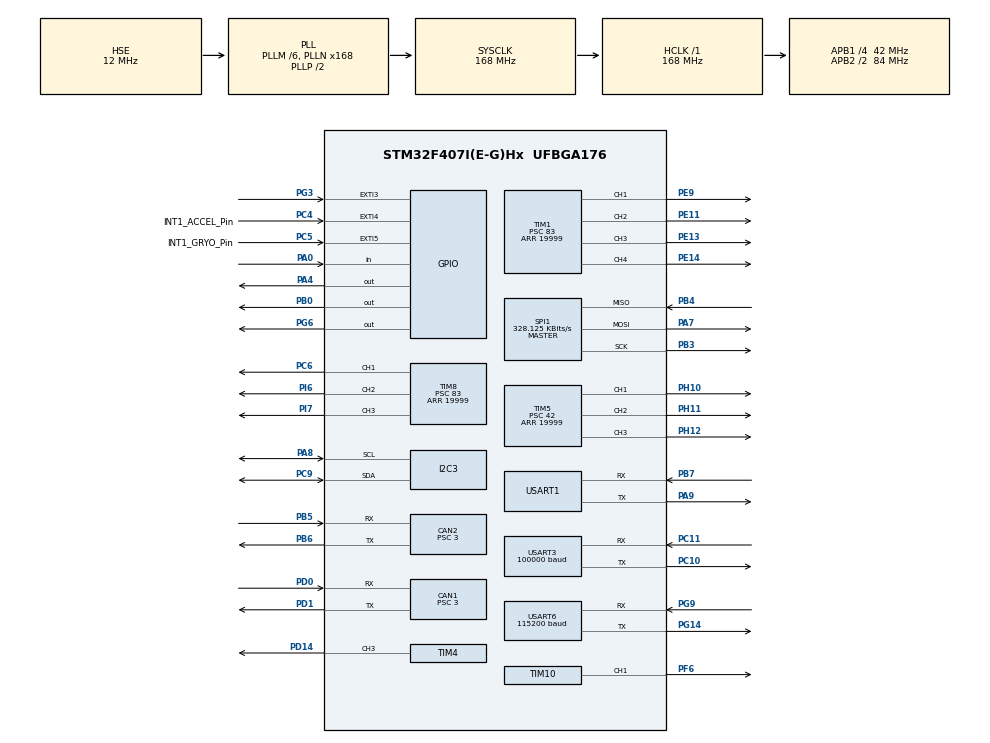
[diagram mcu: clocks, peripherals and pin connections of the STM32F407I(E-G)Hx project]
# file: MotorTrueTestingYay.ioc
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CAN1.BS1=CAN_BS1_10TQ
CAN1.BS2=CAN_BS2_3TQ
CAN1.CalculateBaudRate=1000000
CAN1.CalculateTimeBit=1000
CAN1.CalculateTimeQuantum=71.42857142857143
CAN1.Prescaler=3
CAN2.BS1=CAN_BS1_10TQ
CAN2.BS2=CAN_BS2_3TQ
CAN2.CalculateBaudRate=1000000
CAN2.CalculateTimeBit=1000
CAN2.CalculateTimeQuantum=71.42857142857143
CAN2.Prescaler=3
Dma.Request0=USART3_RX
Dma.Request1=USART1_RX
Dma.Request2=USART6_RX
Dma.USART1_RX.1.Direction=DMA_PERIPH_TO_MEMORY
Dma.USART1_RX.1.FIFOMode=DMA_FIFOMODE_DISABLE
Dma.USART1_RX.1.Instance=DMA2_Stream2
Dma.USART1_RX.1.MemDataAlignment=DMA_MDATAALIGN_BYTE
Dma.USART1_RX.1.MemInc=DMA_MINC_ENABLE
Dma.USART1_RX.1.Mode=DMA_NORMAL
Dma.USART1_RX.1.PeriphDataAlignment=DMA_PDATAALIGN_BYTE
Dma.USART1_RX.1.PeriphInc=DMA_PINC_DISABLE
Dma.USART1_RX.1.Priority=DMA_PRIORITY_VERY_HIGH
Dma.USART3_RX.0.Direction=DMA_PERIPH_TO_MEMORY
Dma.USART3_RX.0.FIFOMode=DMA_FIFOMODE_DISABLE
Dma.USART3_RX.0.Instance=DMA1_Stream1
Dma.USART3_RX.0.MemDataAlignment=DMA_MDATAALIGN_BYTE
Dma.USART3_RX.0.MemInc=DMA_MINC_ENABLE
Dma.USART3_RX.0.Mode=DMA_CIRCULAR
Dma.USART3_RX.0.PeriphDataAlignment=DMA_PDATAALIGN_BYTE
Dma.USART3_RX.0.PeriphInc=DMA_PINC_DISABLE
Dma.USART3_RX.0.Priority=DMA_PRIORITY_VERY_HIGH
Dma.USART6_RX.2.Direction=DMA_PERIPH_TO_MEMORY
Dma.USART6_RX.2.FIFOMode=DMA_FIFOMODE_DISABLE
Dma.USART6_RX.2.Instance=DMA2_Stream1
Dma.USART6_RX.2.MemDataAlignment=DMA_MDATAALIGN_BYTE
Dma.USART6_RX.2.MemInc=DMA_MINC_ENABLE
Dma.USART6_RX.2.Mode=DMA_NORMAL
Dma.USART6_RX.2.PeriphDataAlignment=DMA_PDATAALIGN_BYTE
Dma.USART6_RX.2.PeriphInc=DMA_PINC_DISABLE
Dma.USART6_RX.2.Priority=DMA_PRIORITY_VERY_HIGH
FREERTOS.INCLUDE_pcTaskGetTaskName=1
FREERTOS.INCLUDE_xTaskGetHandle=1
FREERTOS.Tasks01=FlowManager,48,128,StartFlowManager,Default,NULL,Dynamic,NULL,NULL;IMUtempPIDtask,24,512,imu_temp_control_task,As weak,NULL,Dynamic,NULL,NULL;ChassisTask,24,1024,StartChassisTask,Default,NULL,Dynamic,NULL,NULL
FREERTOS.configUSE_NEWLIB_REENTRANT=1
I2C3.I2C_Mode=I2C_Fast
Mcu.Family=STM32F4
Mcu.Name=STM32F407I(E-G)Hx
Mcu.Package=UFBGA176
NVIC.CAN1_RX0_IRQn=true\:5\:0\:false\:false\:true\:true\:true\:true\:true
NVIC.CAN2_RX0_IRQn=true\:5\:0\:false\:false\:true\:true\:true\:true\:true
NVIC.DMA1_Stream1_IRQn=true\:5\:0\:false\:false\:true\:true\:false\:true\:true
NVIC.DMA2_Stream1_IRQn=true\:5\:0\:false\:false\:true\:true\:false\:true\:true
NVIC.DMA2_Stream2_IRQn=true\:5\:0\:false\:false\:true\:true\:false\:true\:true
NVIC.EXTI3_IRQn=true\:5\:0\:false\:false\:true\:true\:true\:true\:true
NVIC.EXTI4_IRQn=true\:5\:0\:false\:false\:true\:true\:true\:true\:true
NVIC.PriorityGroup=NVIC_PRIORITYGROUP_4
NVIC.USART1_IRQn=true\:5\:0\:false\:false\:true\:true\:true\:true\:true
NVIC.USART6_IRQn=true\:5\:0\:false\:false\:true\:true\:true\:true\:true
PA0-WKUP.Signal=GPIO_Input
PA13.Mode=Serial_Wire
PA13.Signal=SYS_JTMS-SWDIO
PA14.Mode=Serial_Wire
PA14.Signal=SYS_JTCK-SWCLK
PA4.Signal=GPIO_Output
PA7.Mode=Full_Duplex_Master
PA7.Signal=SPI1_MOSI
PA8.Mode=I2C
PA8.Signal=I2C3_SCL
PA9.Mode=Asynchronous
PA9.Signal=USART1_TX
PB0.Signal=GPIO_Output
PB3.Mode=Full_Duplex_Master
PB3.Signal=SPI1_SCK
PB4.Mode=Full_Duplex_Master
PB4.Signal=SPI1_MISO
PB5.Mode=CAN_Activate
PB5.Signal=CAN2_RX
PB6.Mode=CAN_Activate
PB6.Signal=CAN2_TX
PB7.Mode=Asynchronous
PB7.Signal=USART1_RX
PC10.Mode=Asynchronous
PC10.Signal=USART3_TX
PC11.Mode=Asynchronous
PC11.Signal=USART3_RX
PC4.GPIO_Label=INT1_ACCEL_Pin
PC4.Signal=GPXTI4
PC5.GPIO_Label=INT1_GRYO_Pin
PC5.Signal=GPXTI5
PC6.Signal=S_TIM8_CH1
PC9.Mode=I2C
PC9.Signal=I2C3_SDA
PD0.Mode=CAN_Activate
PD0.Signal=CAN1_RX
PD1.Mode=CAN_Activate
PD1.Signal=CAN1_TX
PD14.Signal=S_TIM4_CH3
PE11.Signal=S_TIM1_CH2
PE13.Signal=S_TIM1_CH3
PE14.Signal=S_TIM1_CH4
PE9.Signal=S_TIM1_CH1
PF6.GPIO_PuPd=GPIO_PULLUP
PF6.GPIO_Speed=GPIO_SPEED_FREQ_HIGH
PF6.Signal=S_TIM10_CH1
PG14.Mode=Asynchronous
PG14.Signal=USART6_TX
PG3.Signal=GPXTI3
PG6.Signal=GPIO_Output
PG9.Mode=Asynchronous
PG9.Signal=USART6_RX
PH0-OSC_IN.Mode=HSE-External-Oscillator
PH0-OSC_IN.Signal=RCC_OSC_IN
PH1-OSC_OUT.Mode=HSE-External-Oscillator
PH1-OSC_OUT.Signal=RCC_OSC_OUT
PH10.Signal=S_TIM5_CH1
PH11.Signal=S_TIM5_CH2
PH12.Signal=S_TIM5_CH3
PI6.Signal=S_TIM8_CH2
PI7.Signal=S_TIM8_CH3
ProjectManager.HeapSize=0x200
ProjectManager.StackSize=0x400
ProjectManager.TargetToolchain=STM32CubeIDE
RCC.48MHZClocksFreq_Value=84000000
RCC.AHBFreq_Value=168000000
RCC.APB1CLKDivider=RCC_HCLK_DIV4
RCC.APB1Freq_Value=42000000
RCC.APB1TimFreq_Value=84000000
RCC.APB2CLKDivider=RCC_HCLK_DIV2
RCC.APB2Freq_Value=84000000
RCC.APB2TimFreq_Value=168000000
RCC.CortexFreq_Value=168000000
RCC.EnbaleCSS=true
RCC.HCLKFreq_Value=168000000
RCC.HSE_VALUE=12000000
RCC.HSI_VALUE=16000000
RCC.LSE_VALUE=32768
RCC.PLLM=6
RCC.PLLN=168
RCC.PLLSourceVirtual=RCC_PLLSOURCE_HSE
RCC.SYSCLKFreq_VALUE=168000000
RCC.SYSCLKSource=RCC_SYSCLKSOURCE_PLLCLK
RCC.VCOOutputFreq_Value=336000000
SH.S_TIM10_CH1.0=TIM10_CH1,PWM Generation1 CH1
SH.S_TIM1_CH1.0=TIM1_CH1,PWM Generation1 CH1
SH.S_TIM1_CH2.0=TIM1_CH2,PWM Generation2 CH2
SH.S_TIM1_CH3.0=TIM1_CH3,PWM Generation3 CH3
SH.S_TIM1_CH4.0=TIM1_CH4,PWM Generation4 CH4
SH.S_TIM4_CH3.0=TIM4_CH3,PWM Generation3 CH3
SH.S_TIM5_CH1.0=TIM5_CH1,PWM Generation1 CH1
SH.S_TIM5_CH2.0=TIM5_CH2,PWM Generation2 CH2
SH.S_TIM5_CH3.0=TIM5_CH3,PWM Generation3 CH3
SH.S_TIM8_CH1.0=TIM8_CH1,PWM Generation1 CH1
SH.S_TIM8_CH2.0=TIM8_CH2,PWM Generation2 CH2
SH.S_TIM8_CH3.0=TIM8_CH3,PWM Generation3 CH3
SPI1.BaudRatePrescaler=SPI_BAUDRATEPRESCALER_256
SPI1.CLKPhase=SPI_PHASE_2EDGE
SPI1.CLKPolarity=SPI_POLARITY_HIGH
SPI1.CalculateBaudRate=328.125 KBits/s
SPI1.Direction=SPI_DIRECTION_2LINES
SPI1.Mode=SPI_MODE_MASTER
SPI1.VirtualType=VM_MASTER
TIM1.AutoReloadPreload=TIM_AUTORELOAD_PRELOAD_DISABLE
TIM1.Channel-PWM\ Generation1\ CH1=TIM_CHANNEL_1
TIM1.Channel-PWM\ Generation2\ CH2=TIM_CHANNEL_2
TIM1.Channel-PWM\ Generation3\ CH3=TIM_CHANNEL_3
TIM1.Channel-PWM\ Generation4\ CH4=TIM_CHANNEL_4
TIM1.Period=19999
TIM1.Prescaler=83
TIM1.Pulse-PWM\ Generation1\ CH1=0
TIM10.Channel=TIM_CHANNEL_1
TIM10.Period=4999
TIM4.AutoReloadPreload=TIM_AUTORELOAD_PRELOAD_ENABLE
TIM4.Channel-PWM\ Generation3\ CH3=TIM_CHANNEL_3
TIM4.Period=20999
TIM4.Pulse-PWM\ Generation3\ CH3=10499
TIM5.Channel-PWM\ Generation1\ CH1=TIM_CHANNEL_1
TIM5.Channel-PWM\ Generation2\ CH2=TIM_CHANNEL_2
TIM5.Channel-PWM\ Generation3\ CH3=TIM_CHANNEL_3
TIM5.Period=19999
TIM5.Prescaler=42
TIM8.AutoReloadPreload=TIM_AUTORELOAD_PRELOAD_ENABLE
TIM8.Channel-PWM\ Generation1\ CH1=TIM_CHANNEL_1
TIM8.Channel-PWM\ Generation2\ CH2=TIM_CHANNEL_2
TIM8.Channel-PWM\ Generation3\ CH3=TIM_CHANNEL_3
TIM8.Period=19999
TIM8.Prescaler=83
USART1.VirtualMode=VM_ASYNC
USART3.BaudRate=100000
USART3.Parity=PARITY_EVEN
USART3.VirtualMode=VM_ASYNC
USART6.BaudRate=115200
USART6.VirtualMode=VM_ASYNC
VP_FREERTOS_VS_CMSIS_V2.Mode=CMSIS_V2
VP_TIM10_VS_ClockSourceINT.Mode=Enable_Timer
VP_TIM4_VS_ClockSourceINT.Mode=Internal
board=custom

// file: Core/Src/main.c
/* USER CODE BEGIN Header */
/**
  ******************************************************************************
  * @file           : main.c
  * @brief          : Main program body
  ******************************************************************************
  * @attention
  *
  * Copyright (c) 2025 STMicroelectronics.
  * All rights reserved.
  *
  * This software is licensed under terms that can be found in the LICENSE file
  * in the root directory of this software component.
  * If no LICENSE file comes with this software, it is provided AS-IS.
  *
  ******************************************************************************
  */
/* USER CODE END Header */
#include "main.h"
#include "cmsis_os.h"

/* USER CODE BEGIN Includes */
#include "UART_RM25.h"
#include "DBUS.h"
// #include "CC_Handler.h"
#include "CAN.h"
#include "CAL_RM25.h"

#include "BMI088driver.h"
#include "BMI088Middleware.h"
#include "BMI088reg.h"
#include "SWERVE.h"
#include "SwerveBuffer.h"
#include "math.h"
/* USER CODE END Includes */

CAN_HandleTypeDef hcan1;
CAN_HandleTypeDef hcan2;

I2C_HandleTypeDef hi2c3;

SPI_HandleTypeDef hspi1;

TIM_HandleTypeDef htim1;
TIM_HandleTypeDef htim4;
TIM_HandleTypeDef htim5;
TIM_HandleTypeDef htim8;
TIM_HandleTypeDef htim10;

UART_HandleTypeDef huart1;
UART_HandleTypeDef huart3;
UART_HandleTypeDef huart6;
DMA_HandleTypeDef hdma_usart1_rx;
DMA_HandleTypeDef hdma_usart3_rx;
DMA_HandleTypeDef hdma_usart6_rx;

/* Definitions for FlowManager */
osThreadId_t FlowManagerHandle;
const osThreadAttr_t FlowManager_attributes = {
  .name = "FlowManager",
  .stack_size = 128 * 4,
  .priority = (osPriority_t) osPriorityRealtime,
};
/* Definitions for IMUtempPIDtask */
osThreadId_t IMUtempPIDtaskHandle;
const osThreadAttr_t IMUtempPIDtask_attributes = {
  .name = "IMUtempPIDtask",
  .stack_size = 512 * 4,
  .priority = (osPriority_t) osPriorityNormal,
};
/* Definitions for ChassisTask */
osThreadId_t ChassisTaskHandle;
const osThreadAttr_t ChassisTask_attributes = {
  .name = "ChassisTask",
  .stack_size = 1024 * 4,
  .priority = (osPriority_t) osPriorityNormal,
};

void SystemClock_Config(void);
static void MX_GPIO_Init(void);
static void MX_DMA_Init(void);
static void MX_CAN1_Init(void);
static void MX_CAN2_Init(void);
static void MX_SPI1_Init(void);
static void MX_TIM4_Init(void);
static void MX_USART1_UART_Init(void);
static void MX_USART6_UART_Init(void);
static void MX_TIM1_Init(void);
static void MX_TIM8_Init(void);
static void MX_USART3_UART_Init(void);
static void MX_TIM10_Init(void);
static void MX_I2C3_Init(void);
static void MX_TIM5_Init(void);
void StartFlowManager(void *argument);
void imu_temp_control_task(void *argument);
void StartChassisTask(void *argument);

int main(void)
{

  /* MCU Configuration--------------------------------------------------------*/

  /* Reset of all peripherals, Initializes the Flash interface and the Systick. */
  HAL_Init();

  /* Configure the system clock */
  SystemClock_Config();

  /* Initialize all configured peripherals */
  MX_GPIO_Init();
  MX_DMA_Init();
  MX_CAN1_Init();
  MX_CAN2_Init();
  MX_SPI1_Init();
  MX_TIM4_Init();
  MX_USART1_UART_Init();
  MX_USART6_UART_Init();
  MX_TIM1_Init();
  MX_TIM8_Init();
  MX_USART3_UART_Init();
  MX_TIM10_Init();
  MX_I2C3_Init();
  MX_TIM5_Init();

  /* Init scheduler */
  osKernelInitialize();

  /* Create the thread(s) */
  /* creation of FlowManager */
  FlowManagerHandle = osThreadNew(StartFlowManager, NULL, &FlowManager_attributes);

  /* creation of IMUtempPIDtask */
  IMUtempPIDtaskHandle = osThreadNew(imu_temp_control_task, NULL, &IMUtempPIDtask_attributes);

  /* creation of ChassisTask */
  ChassisTaskHandle = osThreadNew(StartChassisTask, NULL, &ChassisTask_attributes);

  /* Start scheduler */
  osKernelStart();

  /* We should never get here as control is now taken by the scheduler */

  /* Infinite loop */
  while (1)
  {

  }
}

void SystemClock_Config(void)
{
  RCC_OscInitTypeDef RCC_OscInitStruct = {0};
  RCC_ClkInitTypeDef RCC_ClkInitStruct = {0};

  /** Configure the main internal regulator output voltage
  */
  __HAL_RCC_PWR_CLK_ENABLE();
  __HAL_PWR_VOLTAGESCALING_CONFIG(PWR_REGULATOR_VOLTAGE_SCALE1);

  /** Initializes the RCC Oscillators according to the specified parameters
  * in the RCC_OscInitTypeDef structure.
  */
  RCC_OscInitStruct.OscillatorType = RCC_OSCILLATORTYPE_HSE;
  RCC_OscInitStruct.HSEState = RCC_HSE_ON;
  RCC_OscInitStruct.PLL.PLLState = RCC_PLL_ON;
  RCC_OscInitStruct.PLL.PLLSource = RCC_PLLSOURCE_HSE;
  RCC_OscInitStruct.PLL.PLLM = 6;
  RCC_OscInitStruct.PLL.PLLN = 168;
  RCC_OscInitStruct.PLL.PLLP = RCC_PLLP_DIV2;
  RCC_OscInitStruct.PLL.PLLQ = 4;
  if (HAL_RCC_OscConfig(&RCC_OscInitStruct) != HAL_OK)
  {
    Error_Handler();
  }

  /** Initializes the CPU, AHB and APB buses clocks
  */
  RCC_ClkInitStruct.ClockType = RCC_CLOCKTYPE_HCLK|RCC_CLOCKTYPE_SYSCLK
                              |RCC_CLOCKTYPE_PCLK1|RCC_CLOCKTYPE_PCLK2;
  RCC_ClkInitStruct.SYSCLKSource = RCC_SYSCLKSOURCE_PLLCLK;
  RCC_ClkInitStruct.AHBCLKDivider = RCC_SYSCLK_DIV1;
  RCC_ClkInitStruct.APB1CLKDivider = RCC_HCLK_DIV4;
  RCC_ClkInitStruct.APB2CLKDivider = RCC_HCLK_DIV2;

  if (HAL_RCC_ClockConfig(&RCC_ClkInitStruct, FLASH_LATENCY_5) != HAL_OK)
  {
    Error_Handler();
  }

  /** Enables the Clock Security System
  */
  HAL_RCC_EnableCSS();
}

static void MX_CAN1_Init(void)
{

  hcan1.Instance = CAN1;
  hcan1.Init.Prescaler = 3;
  hcan1.Init.Mode = CAN_MODE_NORMAL;
  hcan1.Init.SyncJumpWidth = CAN_SJW_1TQ;
  hcan1.Init.TimeSeg1 = CAN_BS1_10TQ;
  hcan1.Init.TimeSeg2 = CAN_BS2_3TQ;
  hcan1.Init.TimeTriggeredMode = DISABLE;
  hcan1.Init.AutoBusOff = DISABLE;
  hcan1.Init.AutoWakeUp = DISABLE;
  hcan1.Init.AutoRetransmission = DISABLE;
  hcan1.Init.ReceiveFifoLocked = DISABLE;
  hcan1.Init.TransmitFifoPriority = DISABLE;
  if (HAL_CAN_Init(&hcan1) != HAL_OK)
  {
    Error_Handler();
  }

}

static void MX_CAN2_Init(void)
{

  hcan2.Instance = CAN2;
  hcan2.Init.Prescaler = 3;
  hcan2.Init.Mode = CAN_MODE_NORMAL;
  hcan2.Init.SyncJumpWidth = CAN_SJW_1TQ;
  hcan2.Init.TimeSeg1 = CAN_BS1_10TQ;
  hcan2.Init.TimeSeg2 = CAN_BS2_3TQ;
  hcan2.Init.TimeTriggeredMode = DISABLE;
  hcan2.Init.AutoBusOff = DISABLE;
  hcan2.Init.AutoWakeUp = DISABLE;
  hcan2.Init.AutoRetransmission = DISABLE;
  hcan2.Init.ReceiveFifoLocked = DISABLE;
  hcan2.Init.TransmitFifoPriority = DISABLE;
  if (HAL_CAN_Init(&hcan2) != HAL_OK)
  {
    Error_Handler();
  }

}

static void MX_I2C3_Init(void)
{

  hi2c3.Instance = I2C3;
  hi2c3.Init.ClockSpeed = 400000;
  hi2c3.Init.DutyCycle = I2C_DUTYCYCLE_2;
  hi2c3.Init.OwnAddress1 = 0;
  hi2c3.Init.AddressingMode = I2C_ADDRESSINGMODE_7BIT;
  hi2c3.Init.DualAddressMode = I2C_DUALADDRESS_DISABLE;
  hi2c3.Init.OwnAddress2 = 0;
  hi2c3.Init.GeneralCallMode = I2C_GENERALCALL_DISABLE;
  hi2c3.Init.NoStretchMode = I2C_NOSTRETCH_DISABLE;
  if (HAL_I2C_Init(&hi2c3) != HAL_OK)
  {
    Error_Handler();
  }

}

static void MX_SPI1_Init(void)
{

  /* SPI1 parameter configuration*/
  hspi1.Instance = SPI1;
  hspi1.Init.Mode = SPI_MODE_MASTER;
  hspi1.Init.Direction = SPI_DIRECTION_2LINES;
  hspi1.Init.DataSize = SPI_DATASIZE_8BIT;
  hspi1.Init.CLKPolarity = SPI_POLARITY_HIGH;
  hspi1.Init.CLKPhase = SPI_PHASE_2EDGE;
  hspi1.Init.NSS = SPI_NSS_SOFT;
  hspi1.Init.BaudRatePrescaler = SPI_BAUDRATEPRESCALER_256;
  hspi1.Init.FirstBit = SPI_FIRSTBIT_MSB;
  hspi1.Init.TIMode = SPI_TIMODE_DISABLE;
  hspi1.Init.CRCCalculation = SPI_CRCCALCULATION_DISABLE;
  hspi1.Init.CRCPolynomial = 10;
  if (HAL_SPI_Init(&hspi1) != HAL_OK)
  {
    Error_Handler();
  }

}

static void MX_TIM1_Init(void)
{

  TIM_MasterConfigTypeDef sMasterConfig = {0};
  TIM_OC_InitTypeDef sConfigOC = {0};
  TIM_BreakDeadTimeConfigTypeDef sBreakDeadTimeConfig = {0};

  htim1.Instance = TIM1;
  htim1.Init.Prescaler = 83;
  htim1.Init.CounterMode = TIM_COUNTERMODE_UP;
  htim1.Init.Period = 19999;
  htim1.Init.ClockDivision = TIM_CLOCKDIVISION_DIV1;
  htim1.Init.RepetitionCounter = 0;
  htim1.Init.AutoReloadPreload = TIM_AUTORELOAD_PRELOAD_DISABLE;
  if (HAL_TIM_PWM_Init(&htim1) != HAL_OK)
  {
    Error_Handler();
  }
  sMasterConfig.MasterOutputTrigger = TIM_TRGO_RESET;
  sMasterConfig.MasterSlaveMode = TIM_MASTERSLAVEMODE_DISABLE;
  if (HAL_TIMEx_MasterConfigSynchronization(&htim1, &sMasterConfig) != HAL_OK)
  {
    Error_Handler();
  }
  sConfigOC.OCMode = TIM_OCMODE_PWM1;
  sConfigOC.Pulse = 0;
  sConfigOC.OCPolarity = TIM_OCPOLARITY_HIGH;
  sConfigOC.OCNPolarity = TIM_OCNPOLARITY_HIGH;
  sConfigOC.OCFastMode = TIM_OCFAST_DISABLE;
  sConfigOC.OCIdleState = TIM_OCIDLESTATE_RESET;
  sConfigOC.OCNIdleState = TIM_OCNIDLESTATE_RESET;
  if (HAL_TIM_PWM_ConfigChannel(&htim1, &sConfigOC, TIM_CHANNEL_1) != HAL_OK)
  {
    Error_Handler();
  }
  if (HAL_TIM_PWM_ConfigChannel(&htim1, &sConfigOC, TIM_CHANNEL_2) != HAL_OK)
  {
    Error_Handler();
  }
  if (HAL_TIM_PWM_ConfigChannel(&htim1, &sConfigOC, TIM_CHANNEL_3) != HAL_OK)
  {
    Error_Handler();
  }
  if (HAL_TIM_PWM_ConfigChannel(&htim1, &sConfigOC, TIM_CHANNEL_4) != HAL_OK)
  {
    Error_Handler();
  }
  sBreakDeadTimeConfig.OffStateRunMode = TIM_OSSR_DISABLE;
  sBreakDeadTimeConfig.OffStateIDLEMode = TIM_OSSI_DISABLE;
  sBreakDeadTimeConfig.LockLevel = TIM_LOCKLEVEL_OFF;
  sBreakDeadTimeConfig.DeadTime = 0;
  sBreakDeadTimeConfig.BreakState = TIM_BREAK_DISABLE;
  sBreakDeadTimeConfig.BreakPolarity = TIM_BREAKPOLARITY_HIGH;
  sBreakDeadTimeConfig.AutomaticOutput = TIM_AUTOMATICOUTPUT_DISABLE;
  if (HAL_TIMEx_ConfigBreakDeadTime(&htim1, &sBreakDeadTimeConfig) != HAL_OK)
  {
    Error_Handler();
  }
  HAL_TIM_MspPostInit(&htim1);

}

static void MX_TIM4_Init(void)
{

  TIM_ClockConfigTypeDef sClockSourceConfig = {0};
  TIM_MasterConfigTypeDef sMasterConfig = {0};
  TIM_OC_InitTypeDef sConfigOC = {0};

  htim4.Instance = TIM4;
  htim4.Init.Prescaler = 0;
  htim4.Init.CounterMode = TIM_COUNTERMODE_UP;
  htim4.Init.Period = 20999;
  htim4.Init.ClockDivision = TIM_CLOCKDIVISION_DIV1;
  htim4.Init.AutoReloadPreload = TIM_AUTORELOAD_PRELOAD_ENABLE;
  if (HAL_TIM_Base_Init(&htim4) != HAL_OK)
  {
    Error_Handler();
  }
  sClockSourceConfig.ClockSource = TIM_CLOCKSOURCE_INTERNAL;
  if (HAL_TIM_ConfigClockSource(&htim4, &sClockSourceConfig) != HAL_OK)
  {
    Error_Handler();
  }
  if (HAL_TIM_PWM_Init(&htim4) != HAL_OK)
  {
    Error_Handler();
  }
  sMasterConfig.MasterOutputTrigger = TIM_TRGO_RESET;
  sMasterConfig.MasterSlaveMode = TIM_MASTERSLAVEMODE_DISABLE;
  if (HAL_TIMEx_MasterConfigSynchronization(&htim4, &sMasterConfig) != HAL_OK)
  {
    Error_Handler();
  }
  sConfigOC.OCMode = TIM_OCMODE_PWM1;
  sConfigOC.Pulse = 10499;
  sConfigOC.OCPolarity = TIM_OCPOLARITY_HIGH;
  sConfigOC.OCFastMode = TIM_OCFAST_DISABLE;
  if (HAL_TIM_PWM_ConfigChannel(&htim4, &sConfigOC, TIM_CHANNEL_3) != HAL_OK)
  {
    Error_Handler();
  }
  HAL_TIM_MspPostInit(&htim4);

}

static void MX_TIM5_Init(void)
{

  TIM_MasterConfigTypeDef sMasterConfig = {0};
  TIM_OC_InitTypeDef sConfigOC = {0};

  htim5.Instance = TIM5;
  htim5.Init.Prescaler = 42;
  htim5.Init.CounterMode = TIM_COUNTERMODE_UP;
  htim5.Init.Period = 19999;
  htim5.Init.ClockDivision = TIM_CLOCKDIVISION_DIV1;
  htim5.Init.AutoReloadPreload = TIM_AUTORELOAD_PRELOAD_DISABLE;
  if (HAL_TIM_PWM_Init(&htim5) != HAL_OK)
  {
    Error_Handler();
  }
  sMasterConfig.MasterOutputTrigger = TIM_TRGO_RESET;
  sMasterConfig.MasterSlaveMode = TIM_MASTERSLAVEMODE_DISABLE;
  if (HAL_TIMEx_MasterConfigSynchronization(&htim5, &sMasterConfig) != HAL_OK)
  {
    Error_Handler();
  }
  sConfigOC.OCMode = TIM_OCMODE_PWM1;
  sConfigOC.Pulse = 0;
  sConfigOC.OCPolarity = TIM_OCPOLARITY_HIGH;
  sConfigOC.OCFastMode = TIM_OCFAST_DISABLE;
  if (HAL_TIM_PWM_ConfigChannel(&htim5, &sConfigOC, TIM_CHANNEL_1) != HAL_OK)
  {
    Error_Handler();
  }
  if (HAL_TIM_PWM_ConfigChannel(&htim5, &sConfigOC, TIM_CHANNEL_2) != HAL_OK)
  {
    Error_Handler();
  }
  if (HAL_TIM_PWM_ConfigChannel(&htim5, &sConfigOC, TIM_CHANNEL_3) != HAL_OK)
  {
    Error_Handler();
  }
  HAL_TIM_MspPostInit(&htim5);

}

static void MX_TIM8_Init(void)
{

  TIM_MasterConfigTypeDef sMasterConfig = {0};
  TIM_OC_InitTypeDef sConfigOC = {0};
  TIM_BreakDeadTimeConfigTypeDef sBreakDeadTimeConfig = {0};

  htim8.Instance = TIM8;
  htim8.Init.Prescaler = 83;
  htim8.Init.CounterMode = TIM_COUNTERMODE_UP;
  htim8.Init.Period = 19999;
  htim8.Init.ClockDivision = TIM_CLOCKDIVISION_DIV1;
  htim8.Init.RepetitionCounter = 0;
  htim8.Init.AutoReloadPreload = TIM_AUTORELOAD_PRELOAD_ENABLE;
  if (HAL_TIM_PWM_Init(&htim8) != HAL_OK)
  {
    Error_Handler();
  }
  sMasterConfig.MasterOutputTrigger = TIM_TRGO_RESET;
  sMasterConfig.MasterSlaveMode = TIM_MASTERSLAVEMODE_DISABLE;
  if (HAL_TIMEx_MasterConfigSynchronization(&htim8, &sMasterConfig) != HAL_OK)
  {
    Error_Handler();
  }
  sConfigOC.OCMode = TIM_OCMODE_PWM1;
  sConfigOC.Pulse = 0;
  sConfigOC.OCPolarity = TIM_OCPOLARITY_HIGH;
  sConfigOC.OCNPolarity = TIM_OCNPOLARITY_HIGH;
  sConfigOC.OCFastMode = TIM_OCFAST_DISABLE;
  sConfigOC.OCIdleState = TIM_OCIDLESTATE_RESET;
  sConfigOC.OCNIdleState = TIM_OCNIDLESTATE_RESET;
  if (HAL_TIM_PWM_ConfigChannel(&htim8, &sConfigOC, TIM_CHANNEL_1) != HAL_OK)
  {
    Error_Handler();
  }
  if (HAL_TIM_PWM_ConfigChannel(&htim8, &sConfigOC, TIM_CHANNEL_2) != HAL_OK)
  {
    Error_Handler();
  }
  if (HAL_TIM_PWM_ConfigChannel(&htim8, &sConfigOC, TIM_CHANNEL_3) != HAL_OK)
  {
    Error_Handler();
  }
  sBreakDeadTimeConfig.OffStateRunMode = TIM_OSSR_DISABLE;
  sBreakDeadTimeConfig.OffStateIDLEMode = TIM_OSSI_DISABLE;
  sBreakDeadTimeConfig.LockLevel = TIM_LOCKLEVEL_OFF;
  sBreakDeadTimeConfig.DeadTime = 0;
  sBreakDeadTimeConfig.BreakState = TIM_BREAK_DISABLE;
  sBreakDeadTimeConfig.BreakPolarity = TIM_BREAKPOLARITY_HIGH;
  sBreakDeadTimeConfig.AutomaticOutput = TIM_AUTOMATICOUTPUT_DISABLE;
  if (HAL_TIMEx_ConfigBreakDeadTime(&htim8, &sBreakDeadTimeConfig) != HAL_OK)
  {
    Error_Handler();
  }
  HAL_TIM_MspPostInit(&htim8);

}

static void MX_TIM10_Init(void)
{

  TIM_OC_InitTypeDef sConfigOC = {0};

  htim10.Instance = TIM10;
  htim10.Init.Prescaler = 0;
  htim10.Init.CounterMode = TIM_COUNTERMODE_UP;
  htim10.Init.Period = 4999;
  htim10.Init.ClockDivision = TIM_CLOCKDIVISION_DIV1;
  htim10.Init.AutoReloadPreload = TIM_AUTORELOAD_PRELOAD_DISABLE;
  if (HAL_TIM_Base_Init(&htim10) != HAL_OK)
  {
    Error_Handler();
  }
  if (HAL_TIM_PWM_Init(&htim10) != HAL_OK)
  {
    Error_Handler();
  }
  sConfigOC.OCMode = TIM_OCMODE_PWM1;
  sConfigOC.Pulse = 0;
  sConfigOC.OCPolarity = TIM_OCPOLARITY_HIGH;
  sConfigOC.OCFastMode = TIM_OCFAST_DISABLE;
  if (HAL_TIM_PWM_ConfigChannel(&htim10, &sConfigOC, TIM_CHANNEL_1) != HAL_OK)
  {
    Error_Handler();
  }
  HAL_TIM_MspPostInit(&htim10);

}

static void MX_USART1_UART_Init(void)
{

  huart1.Instance = USART1;
  huart1.Init.BaudRate = 115200;
  huart1.Init.WordLength = UART_WORDLENGTH_8B;
  huart1.Init.StopBits = UART_STOPBITS_1;
  huart1.Init.Parity = UART_PARITY_NONE;
  huart1.Init.Mode = UART_MODE_TX_RX;
  huart1.Init.HwFlowCtl = UART_HWCONTROL_NONE;
  huart1.Init.OverSampling = UART_OVERSAMPLING_16;
  if (HAL_UART_Init(&huart1) != HAL_OK)
  {
    Error_Handler();
  }

}

static void MX_USART3_UART_Init(void)
{

  huart3.Instance = USART3;
  huart3.Init.BaudRate = 100000;
  huart3.Init.WordLength = UART_WORDLENGTH_8B;
  huart3.Init.StopBits = UART_STOPBITS_1;
  huart3.Init.Parity = UART_PARITY_EVEN;
  huart3.Init.Mode = UART_MODE_TX_RX;
  huart3.Init.HwFlowCtl = UART_HWCONTROL_NONE;
  huart3.Init.OverSampling = UART_OVERSAMPLING_16;
  if (HAL_UART_Init(&huart3) != HAL_OK)
  {
    Error_Handler();
  }

}

static void MX_USART6_UART_Init(void)
{

  huart6.Instance = USART6;
  huart6.Init.BaudRate = 115200;
  huart6.Init.WordLength = UART_WORDLENGTH_8B;
  huart6.Init.StopBits = UART_STOPBITS_1;
  huart6.Init.Parity = UART_PARITY_NONE;
  huart6.Init.Mode = UART_MODE_TX_RX;
  huart6.Init.HwFlowCtl = UART_HWCONTROL_NONE;
  huart6.Init.OverSampling = UART_OVERSAMPLING_16;
  if (HAL_UART_Init(&huart6) != HAL_OK)
  {
    Error_Handler();
  }

}

static void MX_DMA_Init(void)
{

  /* DMA controller clock enable */
  __HAL_RCC_DMA1_CLK_ENABLE();
  __HAL_RCC_DMA2_CLK_ENABLE();

  /* DMA interrupt init */
  /* DMA1_Stream1_IRQn interrupt configuration */
  HAL_NVIC_SetPriority(DMA1_Stream1_IRQn, 5, 0);
  HAL_NVIC_EnableIRQ(DMA1_Stream1_IRQn);
  /* DMA2_Stream1_IRQn interrupt configuration */
  HAL_NVIC_SetPriority(DMA2_Stream1_IRQn, 5, 0);
  HAL_NVIC_EnableIRQ(DMA2_Stream1_IRQn);
  /* DMA2_Stream2_IRQn interrupt configuration */
  HAL_NVIC_SetPriority(DMA2_Stream2_IRQn, 5, 0);
  HAL_NVIC_EnableIRQ(DMA2_Stream2_IRQn);

}

static void MX_GPIO_Init(void)
{
  GPIO_InitTypeDef GPIO_InitStruct = {0};

  /* GPIO Ports Clock Enable */
  __HAL_RCC_GPIOB_CLK_ENABLE();
  __HAL_RCC_GPIOG_CLK_ENABLE();
  __HAL_RCC_GPIOA_CLK_ENABLE();
  __HAL_RCC_GPIOD_CLK_ENABLE();
  __HAL_RCC_GPIOC_CLK_ENABLE();
  __HAL_RCC_GPIOI_CLK_ENABLE();
  __HAL_RCC_GPIOH_CLK_ENABLE();
  __HAL_RCC_GPIOF_CLK_ENABLE();
  __HAL_RCC_GPIOE_CLK_ENABLE();

  /*Configure GPIO pin Output Level */
  HAL_GPIO_WritePin(GPIOG, GPIO_PIN_6, GPIO_PIN_RESET);

  /*Configure GPIO pin Output Level */
  HAL_GPIO_WritePin(GPIOA, GPIO_PIN_4, GPIO_PIN_RESET);

  /*Configure GPIO pin Output Level */
  HAL_GPIO_WritePin(GPIOB, GPIO_PIN_0, GPIO_PIN_RESET);

  /*Configure GPIO pin : PG6 */
  GPIO_InitStruct.Pin = GPIO_PIN_6;
  GPIO_InitStruct.Mode = GPIO_MODE_OUTPUT_PP;
  GPIO_InitStruct.Pull = GPIO_NOPULL;
  GPIO_InitStruct.Speed = GPIO_SPEED_FREQ_LOW;
  HAL_GPIO_Init(GPIOG, &GPIO_InitStruct);

  /*Configure GPIO pin : PG3 */
  GPIO_InitStruct.Pin = GPIO_PIN_3;
  GPIO_InitStruct.Mode = GPIO_MODE_IT_RISING;
  GPIO_InitStruct.Pull = GPIO_NOPULL;
  HAL_GPIO_Init(GPIOG, &GPIO_InitStruct);

  /*Configure GPIO pin : PA0 */
  GPIO_InitStruct.Pin = GPIO_PIN_0;
  GPIO_InitStruct.Mode = GPIO_MODE_INPUT;
  GPIO_InitStruct.Pull = GPIO_NOPULL;
  HAL_GPIO_Init(GPIOA, &GPIO_InitStruct);

  /*Configure GPIO pin : PA4 */
  GPIO_InitStruct.Pin = GPIO_PIN_4;
  GPIO_InitStruct.Mode = GPIO_MODE_OUTPUT_PP;
  GPIO_InitStruct.Pull = GPIO_NOPULL;
  GPIO_InitStruct.Speed = GPIO_SPEED_FREQ_LOW;
  HAL_GPIO_Init(GPIOA, &GPIO_InitStruct);

  /*Configure GPIO pins : INT1_ACCEL_Pin_Pin INT1_GRYO_Pin_Pin */
  GPIO_InitStruct.Pin = INT1_ACCEL_Pin_Pin|INT1_GRYO_Pin_Pin;
  GPIO_InitStruct.Mode = GPIO_MODE_IT_RISING;
  GPIO_InitStruct.Pull = GPIO_NOPULL;
  HAL_GPIO_Init(GPIOC, &GPIO_InitStruct);

  /*Configure GPIO pin : PB0 */
  GPIO_InitStruct.Pin = GPIO_PIN_0;
  GPIO_InitStruct.Mode = GPIO_MODE_OUTPUT_PP;
  GPIO_InitStruct.Pull = GPIO_NOPULL;
  GPIO_InitStruct.Speed = GPIO_SPEED_FREQ_LOW;
  HAL_GPIO_Init(GPIOB, &GPIO_InitStruct);

  /* EXTI interrupt init*/
  HAL_NVIC_SetPriority(EXTI3_IRQn, 5, 0);
  HAL_NVIC_EnableIRQ(EXTI3_IRQn);

  HAL_NVIC_SetPriority(EXTI4_IRQn, 5, 0);
  HAL_NVIC_EnableIRQ(EXTI4_IRQn);

}

void StartFlowManager(void *argument)
{
  /* USER CODE BEGIN 5 */
	uint8_t iCount = 0;

	DBUS_Rx_Init(&huart3);

	UART_Ex_Init(&huart1);
	UART_Ex_Init(&huart6);
	CAN_Init();
	BMI088_gyro_init();
	BMI088_accel_init();
  /* Infinite loop */
  for(;;)
  {
	  DBUS_Update();

	  // UART_Printf(&huart1, "%d %d\r\n", CAL_getBufferEnergy(), CAL_getPowerLimit());

	  if(iCount%3==0){
		  CAL_Update();
	  }

	  //UART_Printf(&huart6,"DBUS Check: %d %d \n", getDR16_W(),getCC_W());
	  //UART_Printfmt(&huart6,"%d \n",getDR16_CH1());

	  if(iCount<255){
		  iCount++;
	  }else{
		  iCount = 0;
	  }
	  osDelay(1);
  }
  /* USER CODE END 5 */
}

__weak void imu_temp_control_task(void *argument)
{
  for(;;)
  {
    osDelay(1);
  }
}

/* USER CODE BEGIN Header_StartChassisTask */
/*
* @brief Function implementing the ChassisTask thread.
* @param argument: Not used
* @retval None
*/
/* USER CODE END Header_StartChassisTask */
void StartChassisTask(void *argument)
{
  /* USER CODE BEGIN StartChassisTask */
	float axies[2][3] = {0};
	float axiesPrev[2][3] = {0};
	float axiesPrevPrev[2][3] = {0};
	float average[3][120] = {0};
	float sumer[3] = {0};
	uint8_t counter = 0;
	float totalAngle[3] = {0};
  /* Infinite loop */
  for(;;)
  {
	  for (uint8_t i = 0; i < 3; i++) {
		  axies[0][i] = IMU_get_gyro(i);

		  float tempHolder = (axiesPrevPrev[0][i] + axies[0][i])*0.5;;

		  /*
		  if ((axies[0][i] < 0.01) && (axies[0][i] > -0.01)) {
			  axies[0][i] = 0;
		  }

		  if ((axiesPrevPrev[0][i] == 0) && (axies[0][i] == 0) && ((axiesPrev[0][i] <= -0.01) || (axiesPrev[0][i] >= 0.01))) {
			  axiesPrev[0][i] = 0;
			  // UART_Printf(&huart1, "BEANISED\r\n");
		  } else if ((axiesPrevPrev[0][i] > 0) && (axies[0][i] > 0) && ((axiesPrev[0][i]/tempHolder) < 0.2)) {
			  axiesPrev[0][i] = tempHolder;
		  } else if ((axiesPrevPrev[0][i] < 0) && (axies[0][i] < 0) && ((axiesPrev[0][i]/tempHolder) < 0.2)) {
			  axiesPrev[0][i] = tempHolder;
		  }

		  totalAngle[i] = totalAngle[i] + (axiesPrevPrev[0][i]*0.001);

			*/
		  sumer[i] -= average[i][counter];
		  average[i][counter] = axies[0][i]/120;
		  sumer[i] += average[i][counter];

		  axies[1][i] = IMU_get_accel(i);

		  counter++;
		  if (counter == 120) {
			  counter = 0;
		  }
	  }

	  UART_Printf(&huart1, "%f %f %f\r\n", sumer[0], sumer[1], sumer[2]);
	  // UART_Printf(&huart1, "%f %f %f\r\n", axies[0][0], axies[0][1], axies[0][2]);
	  // UART_Printf(&huart1, "%f %f %f\r\n", axiesPrevPrev[0][0], axiesPrevPrev[0][1], axiesPrevPrev[0][2]);
	  // UART_Printf(&huart1, "%f %f %f\r\n", ((totalAngle[0]*360)/(2*M_PI)), ((totalAngle[1]*360)/(2*M_PI)), ((totalAngle[2]*360)/(2*M_PI)));

	  for (uint8_t j = 0; j < 3; j++) {
		  for (uint8_t k = 0; k < 2; k++) {
			  axiesPrevPrev[k][j] = axiesPrev[k][j];
			  axiesPrev[k][j] = axies[k][j];
		  }
	  }

	  // DO NOT DELETE THIS!!!!
	 osDelay(1);

  }
  /* USER CODE END StartChassisTask */
}

void Error_Handler(void)
{
  __disable_irq();
  while (1)
  {
  }
}
